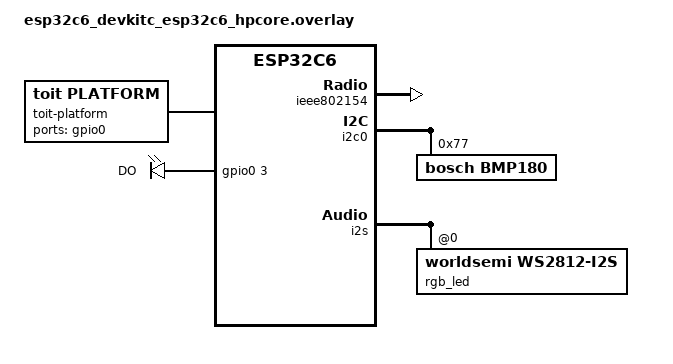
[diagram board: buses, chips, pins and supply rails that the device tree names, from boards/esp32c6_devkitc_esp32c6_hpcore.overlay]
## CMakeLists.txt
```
cmake_minimum_required(VERSION 3.20.0)
list(APPEND ZEPHYR_EXTRA_MODULES ${CMAKE_CURRENT_SOURCE_DIR}/../modules/toit)
# The VM core's crypto on Zephyr 4.5's Mbed TLS 4 / TF-PSA-Crypto.
list(APPEND EXTRA_CONF_FILE ${CMAKE_CURRENT_SOURCE_DIR}/crypto_mbedtls4.conf)
# Unset, find_package takes whichever Zephyr the CMake package registry holds
# (the NCS one on msi), silently (#42).
if(NOT DEFINED ENV{ZEPHYR_BASE})
  message(FATAL_ERROR "ZEPHYR_BASE is not set: source ztoit's env.sh (#42)")
endif()
find_package(Zephyr REQUIRED HINTS $ENV{ZEPHYR_BASE})
project(ztoit LANGUAGES C CXX)
target_sources(app PRIVATE src/main.cc)
# The QEMU test build's wire between two emulated GPIO pins (tests/qemu, #62).
if(CONFIG_GPIO_EMUL)
  target_sources(app PRIVATE ../tests/qemu/gpio-join.c)
endif()
if(CONFIG_SOC_SERIES_ESP32)
  target_sources(app PRIVATE src/esp32_fflush.c)
  zephyr_ld_options(-Wl,--wrap=fflush)
  if(CONFIG_WIFI_ESP32)
    target_sources(app PRIVATE src/esp32_wifi_timers.c)
    zephyr_ld_options(-Wl,--wrap=ets_timer_setfn -Wl,--wrap=ets_timer_done)
  endif()
endif()
if(CONFIG_TOIT_AGENT)
  target_sources(app PRIVATE src/agent/agent.c src/agent/console.c src/agent/msg.c src/agent/obs.c
                             src/agent/stage.c src/agent/store.c src/agent/ed25519.c)
  # Vendored TweetNaCl (ed25519.c's header): kept byte for byte, warnings and all.
  set_source_files_properties(src/agent/ed25519.c PROPERTIES COMPILE_OPTIONS -w)
  target_link_libraries(app PRIVATE mbedTLS)
  # obs/build's strings, taken at every build, not at configure (ztoit#24).
  set(ids ${CMAKE_CURRENT_BINARY_DIR}/ztoit_ids.h)
  add_custom_target(ztoit_ids
    COMMAND ${CMAKE_COMMAND} -DOUT=${ids} -DSRC=${CMAKE_CURRENT_SOURCE_DIR}/..
            -DTOIT_SRC=$ENV{TOIT_SRC} -DTOIT_HOST=$ENV{TOIT_HOST} -P ${CMAKE_CURRENT_SOURCE_DIR}/ztoit_ids.cmake
    BYPRODUCTS ${ids} VERBATIM)
  add_dependencies(app ztoit_ids)
  target_include_directories(app PRIVATE ${CMAKE_CURRENT_BINARY_DIR})
endif()
option(OT_COUNTERS "Debug: print OpenThread MAC counters every minute (ztoit#18)" OFF)
if(OT_COUNTERS)
  target_sources(app PRIVATE src/ot_counters.c)
endif()
option(FATAL_DUMP "Debug, nRF: report a fatal error or watchdog reset at the next boot (ztoit#23)" OFF)
if(FATAL_DUMP)
  target_sources(app PRIVATE src/fatal_dump.c)
  if(FATAL_DUMP_PEEK)  # "core-address;trx-address", see fatal_dump.c
    list(GET FATAL_DUMP_PEEK 0 peek_core)
    list(GET FATAL_DUMP_PEEK 1 peek_trx)
    target_compile_definitions(app PRIVATE FATAL_DUMP_PEEK PEEK_CORE=${peek_core} PEEK_TRX=${peek_trx})
  endif()
endif()
option(HFCLK_HOLD "Debug, nRF: hold the HF crystal on from boot, as USB does (ztoit#23)" OFF)
if(HFCLK_HOLD)
  target_sources(app PRIVATE src/hfclk_hold.c)
endif()
target_include_directories(app PRIVATE $ENV{TOIT_SRC}/src $ENV{TOIT_SRC}/include)
target_compile_definitions(app PRIVATE TOIT_DEPLOY _DEFAULT_SOURCE)

# The registry's images: the fork's Zephyr system program, then each of
# $CONTAINERS (run at boot). Each is built snapshot -> relocatable 32-bit image ->
# a const byte array in flash (images.inc, main.cc): it is read once, to install
# it into the flash registry, so it must not take RAM.
set(CONTAINERS ${CMAKE_CURRENT_SOURCE_DIR}/toit/hello.toit CACHE STRING "Toit containers (;-list) run at boot")
set(GEN ${CMAKE_CURRENT_BINARY_DIR}/toit)
file(MAKE_DIRECTORY ${GEN})

# The compiler's dependency file makes an edit to any imported file rebuild the image.
function(toit_image stem source)
  add_custom_command(
    OUTPUT ${GEN}/${stem}.snapshot
    COMMAND $ENV{TOIT_HOST} compile --snapshot -O2 -o ${GEN}/${stem}.snapshot
            --dependency-file ${GEN}/${stem}.d --dependency-format ninja ${source}
    DEPENDS ${source}
    DEPFILE ${GEN}/${stem}.d
    VERBATIM)
  add_custom_command(
    OUTPUT ${GEN}/${stem}.image
    COMMAND $ENV{TOIT_HOST} tool snapshot-to-image --format=binary -m32
            -o ${GEN}/${stem}.image ${GEN}/${stem}.snapshot
    DEPENDS ${GEN}/${stem}.snapshot
    VERBATIM)
  generate_inc_file_for_target(app ${GEN}/${stem}.image ${GEN}/${stem}_image.inc)
endfunction()

set(SYSTEM_DIR $ENV{TOIT_SRC}/system/extensions/zephyr)
toit_image(system ${SYSTEM_DIR}/boot.toit)
set(arrays "static const unsigned char image_system[] __aligned(4) = {\n#include \"system_image.inc\"\n};\n")
set(entries "  { image_system, sizeof(image_system), 0 },\n")
set(stems system)
foreach(source ${CONTAINERS})
  get_filename_component(stem ${source} NAME_WE)
  if(stem IN_LIST stems)
    message(FATAL_ERROR "CONTAINERS: two images named ${stem}")
  endif()
  list(APPEND stems ${stem})
  toit_image(${stem} ${source})
  string(APPEND arrays "static const unsigned char image_${stem}[] __aligned(4) = {\n#include \"${stem}_image.inc\"\n};\n")
  string(APPEND entries "  { image_${stem}, sizeof(image_${stem}), FLAG_RUN_BOOT },\n")
endforeach()
# $TESTS (tests/qemu, tools/test-qemu.py): relocatable images the script has
# built, installed but not run at boot, each tagged with its 1-based place in
# the list; a runner container in $CONTAINERS starts them one at a time.
set(TESTS "" CACHE STRING "Toit test images (;-list) for the QEMU test runner")
set(tag 0)
foreach(image ${TESTS})
  math(EXPR tag "${tag} + 1")
  generate_inc_file_for_target(app ${image} ${GEN}/test_${tag}_image.inc)
  string(APPEND arrays "static const unsigned char image_test_${tag}[] __aligned(4) = {\n#include \"test_${tag}_image.inc\"\n};\n")
  string(APPEND entries "  { image_test_${tag}, sizeof(image_test_${tag}), 0, ${tag} },\n")
endforeach()
file(WRITE ${GEN}/images.inc.tmp "// Generated by zephyr/CMakeLists.txt.\n${arrays}static const Image images[] = {\n${entries}};\n")
configure_file(${GEN}/images.inc.tmp ${GEN}/images.inc COPYONLY)
target_include_directories(app PRIVATE ${GEN})
```

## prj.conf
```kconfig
CONFIG_CPP=y
CONFIG_STD_CPP17=y
CONFIG_REQUIRES_FULL_LIBCPP=y
CONFIG_PICOLIBC=y
CONFIG_CONSOLE=y
CONFIG_UART_CONSOLE=y
CONFIG_MAIN_STACK_SIZE=16384
CONFIG_TOIT=y
CONFIG_THREAD_NAME=y
CONFIG_ENTROPY_GENERATOR=y
CONFIG_PICOLIBC_IO_FLOAT=y
CONFIG_FLASH=y
CONFIG_FLASH_MAP=y
```

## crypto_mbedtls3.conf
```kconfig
# The VM core's crypto (bignum, SHA, AES, entropy) on Mbed TLS 3 (Zephyr 4.2).
# Chosen by CMakeLists.txt from $ZEPHYR_BASE/VERSION.
CONFIG_MBEDTLS=y
CONFIG_MBEDTLS_BUILTIN=y
CONFIG_MBEDTLS_ENTROPY_C=y
CONFIG_MBEDTLS_RSA_C=y
CONFIG_MBEDTLS_PKCS1_V15=y
```

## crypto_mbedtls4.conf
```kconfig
# The VM core's crypto on Mbed TLS 4 / TF-PSA-Crypto (Zephyr 4.5): the legacy
# APIs the VM calls are private there (mbedtls/private/*.h, reached through
# modules/toit/mbedtls4/). PSA_WANT_* selects which legacy modules compile.
# modules/toit/Kconfig's TOIT selects the PSA_WANT_* the VM links. The
# `crypto` primitives (AES, GCM, ChaCha, ECDSA) are compiled out on Zephyr (no
# CONFIG_TOIT_CRYPTO).
CONFIG_MBEDTLS_BUILTIN=y
CONFIG_MBEDTLS_DECLARE_PRIVATE_IDENTIFIERS=y
CONFIG_MBEDTLS_PSA_CRYPTO_LEGACY_RNG=y
# ECDSA/P-256 is the only route to bignum: TF-PSA's rsa.c fails -Werror with just
# the RSA public key.
# Bluetooth (prj_ble.conf) turns on the p256-m driver for its P-256, which replaces
# the built-in ECC above and with it bignum: the VM then fails to link (ztoit #41).
CONFIG_MBEDTLS_PSA_P256M_DRIVER_ENABLED=n
```

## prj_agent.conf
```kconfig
# The C agent (porta check-ins and installs, nodus-toit design §5), on either link:
#   west build -- -DEXTRA_CONF_FILE="prj_wifi.conf;prj_agent.conf;prj_wifi.local.conf"
#   west build -- -DEXTRA_CONF_FILE="prj_thread.conf;prj_agent.conf;prj_thread.local.conf"
# The link's local conf sets CONFIG_TOIT_AGENT_PORTA (an address of the link's
# family) and CONFIG_TOIT_AGENT_PUBKEY (porta's pub key file; empty: nothing installs).
# Settings come from the link's conf (WiFi credentials, the OpenThread dataset).
CONFIG_TOIT_AGENT=y
CONFIG_COAP=y
CONFIG_COAP_CLIENT=y
# The blob path is "blob/" + 64 hex digits = 69 characters; from Zephyr 4.5 the
# request holds the path in an array of this length + 1 (agent.c asserts it fits).
CONFIG_COAP_CLIENT_MAX_PATH_LENGTH=69
# One datagram each way: porta caps a #batch at 512 B (space.MaxBatchBytes) and runs
# blockwise off, and the agent's pushes stay within the same 512 B (msg.h MSG_PUSH_MAX).
CONFIG_COAP_CLIENT_MESSAGE_SIZE=576
# The remote console's ring on log_partition (agent/store.c); boards without one build it unused.
CONFIG_FCB=y
```

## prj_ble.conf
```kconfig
# UDP over Bluetooth LE to a phone relay (the Toit fork's udp_ble.cc; ztoit #41).
# Add with -DEXTRA_CONF_FILE=prj_ble.conf on a board with a BLE radio and no IP
# stack. The block is rete's nodus/oevm/zephyr/prj_dk_ble.conf, whose comments
# give each line's reason; the wire is rete's protocol/RELAY-BLE.md.
CONFIG_BT=y
CONFIG_BT_PERIPHERAL=y
CONFIG_BT_DEVICE_NAME="ztoit"
CONFIG_BT_SMP=y
CONFIG_BT_SETTINGS=y
CONFIG_BT_MAX_PAIRED=1
CONFIG_BT_SMP_APP_PAIRING_ACCEPT=y
CONFIG_BT_SMP_ENFORCE_MITM=n
CONFIG_BT_L2CAP_DYNAMIC_CHANNEL=y
CONFIG_BT_MAX_CONN=1
CONFIG_BT_BUF_ACL_RX_SIZE=251
CONFIG_BT_BUF_ACL_TX_SIZE=251
CONFIG_BT_L2CAP_TX_MTU=247
CONFIG_BT_CTLR_DATA_LENGTH_MAX=251
# The bond lives in settings on the storage partition. Without a backend Zephyr
# picks SETTINGS_NONE and the bond is RAM-only: lost at reset while the phone keeps
# it, so pairing times out (#41). ZMS selects SETTINGS_ZMS, the backend for the
# nRF54L's RRAM (rete's DK uses NVS on nRF52840 flash).
CONFIG_FLASH=y
CONFIG_FLASH_MAP=y
CONFIG_ZMS=y
CONFIG_SETTINGS=y
# As rete's prj_dk_ble.conf: the Bluetooth host's work items run here.
CONFIG_SYSTEM_WORKQUEUE_STACK_SIZE=2048
# Pairing's key exchange runs on the long workqueue. crypto_mbedtls4.conf turns
# p256-m off, so it runs on Mbed TLS's built-in ECP, which overflows the default
# stack (1400 B) at the first link (#41).
CONFIG_BT_LONG_WQ_STACK_SIZE=4096
# Ask the central for 7.5-15 ms, not Zephyr's 30-50 ms. The receive side grants one
# L2CAP credit at a time, so each 400 B datagram from the relay costs ~4-5 connection
# events: at 50 ms that is ~4 a second, too few for rung 6's 10 a second (#41).
# Costs radio power; we run on USB. Faster only while busy is #46.
CONFIG_BT_PERIPHERAL_PREF_MIN_INT=6
CONFIG_BT_PERIPHERAL_PREF_MAX_INT=12
```

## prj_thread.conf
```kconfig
# Thread (OpenThread MTD) layer, any board: west build -- -DEXTRA_CONF_FILE="prj_thread.conf;prj_thread.local.conf"
#   (the radio driver follows the board devicetree: zephyr/boards/*.overlay)
# Values follow rete's proven C6 layer (rete nodus/oevm/zephyr/prj_esp32c6_thread.conf).
# The real porta dataset (network key) lives in the gitignored prj_thread.local.conf;
# without it the node builds but does not join. Read the live dataset with
#   ssh gw85224-01 docker exec otbr ot-ctl dataset active
CONFIG_NETWORKING=y
CONFIG_NET_IPV6=y
CONFIG_NET_IPV4=n
CONFIG_NET_TCP=y
CONFIG_NET_UDP=y
CONFIG_NET_SOCKETS=y
CONFIG_NET_CONFIG_SETTINGS=n
CONFIG_IEEE802154=y
CONFIG_NET_L2_OPENTHREAD=y
CONFIG_OPENTHREAD_MTD=y
CONFIG_OPENTHREAD_FTD=n
CONFIG_OPENTHREAD_MANUAL_START=y
# SLAAC gives the node an address on the OTBR's off-mesh-routable (OMR) prefix,
# which source selection needs for any destination beyond the mesh.
CONFIG_OPENTHREAD_SLAAC=y
CONFIG_OPENTHREAD_THREAD_STACK_SIZE=6240
# OpenThread's radio transmit workqueue overflows its 512 B default on Zephyr 4.5:
# the dongle ~5 s after boot (#47), the XIAO nRF54L15 during an agent fetch (#51).
CONFIG_OPENTHREAD_RADIO_WORKQUEUE_STACK_SIZE=1024
CONFIG_NET_MAX_CONTEXTS=6
CONFIG_NET_PKT_RX_COUNT=8
CONFIG_NET_PKT_TX_COUNT=8
CONFIG_NET_BUF_RX_COUNT=16
# The TX pool also sizes TCP's send window (count x 128 B / 3, zephyr tcp.c
# tcp_tx_window). At 16 a 1000 B write is accepted and never sent (the gateway
# saw 117 B); at 64 (window 2730) tcp_echo.toit passes 5/5 (ztoit#4).
CONFIG_NET_BUF_TX_COUNT=64
# OpenThread keeps its dataset in settings, on the board's `storage` partition.
CONFIG_NVS=y
CONFIG_SETTINGS=y
CONFIG_SETTINGS_NVS=y
CONFIG_ZVFS_EVENTFD=y
# The VM's socket event source polls up to MAX_FDS sockets plus its wake eventfd
# (toit src/event_sources/zsock_zephyr.h; static_assert there). At the defaults
# (poll 3, open 4) two network containers aborted with zsock_poll ENOMEM.
CONFIG_ZVFS_POLL_MAX=9
CONFIG_ZVFS_OPEN_MAX=9
# OpenThread's HMAC (key derivation) allocates from the mbedTLS heap it shares with the VM; at the
# default 512 B it fails once the VM's EntropyMixer holds a hash context (#19).
CONFIG_MBEDTLS_HEAP_SIZE=2048
```

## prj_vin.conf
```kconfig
# The Vindriktning on a WROOM-32 (#52): ztoit.Uart receives the sensor line.
#   west build -- -DEXTRA_CONF_FILE="prj_wifi.conf;prj_agent.conf;prj_vin.conf;prj_wifi.local.conf"
#     -DEXTRA_DTC_OVERLAY_FILE=vindriktning.overlay
CONFIG_UART_INTERRUPT_DRIVEN=y
CONFIG_RING_BUFFER=y
# ztoit.Uart finds the UART by devicetree node label.
CONFIG_DEVICE_DT_METADATA=y
```

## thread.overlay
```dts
/* Thread builds only: the C6's 802.15.4 radio (disabled in esp32c6_common.dtsi). */
&ieee802154 {
	status = "okay";
};
```

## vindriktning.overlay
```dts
/* The Vindriktning (#52): the PM1006-like sensor's TX, through a 5 V -> 3.3 V
 * divider, on GPIO21 (the wiring of ~/workspaceToit/vindriktning). GPIO21 is
 * the board's I2C SDA, so i2c0 is off. Receive only: uart2 gets no TX pin. */
&i2c0 {
	status = "disabled";
};

&pinctrl {
	uart2_vin: uart2_vin {
		group1 {
			pinmux = <UART2_RX_GPIO21>;
			input-enable;
		};
	};
};

&uart2 {
	status = "okay";
	current-speed = <9600>;
	pinctrl-0 = <&uart2_vin>;
	pinctrl-names = "default";
};
```

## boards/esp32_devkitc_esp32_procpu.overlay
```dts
/* WROOM-32 (4 MB flash; the vindriktning's ezSBC ESP32 Feather), #521 spike.
 * Toit's flash registry (flash_registry_zephyr.cc) takes the space the default
 * table gives MCUboot's second slot and the APP CPU images, which ztoit does not
 * use: 0x170000-0x3a0000, 2240 KB. */
/delete-node/ &slot1_partition;
/delete-node/ &slot0_appcpu_partition;
/delete-node/ &slot1_appcpu_partition;
/delete-node/ &slot0_lpcore_partition;
/delete-node/ &slot1_lpcore_partition;

&flash0 {
	partitions {
		toit_partition: partition@170000 {
			label = "toit";
			reg = <0x170000 0x230000>;
		};

		/* The agent's staging area (zephyr/src/agent/store.c): where Zephyr's
		 * ESP32 tables had scratch_partition until 4.5 dropped it (#47). */
		stage_partition: partition@3e0000 {
			compatible = "zephyr,mapped-partition";
			label = "stage";
			reg = <0x3e0000 DT_SIZE_K(124)>;
		};
		/* The remote console's ring (zephyr/src/agent/store.c, FCB): where the
		 * default table has the two lpcore slots, which ztoit does not use. */
		log_partition: partition@3a0000 {
			compatible = "zephyr,mapped-partition";
			label = "log";
			reg = <0x3a0000 DT_SIZE_K(64)>;
		};
	};
};
```

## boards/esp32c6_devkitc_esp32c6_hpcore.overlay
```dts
/* The WROOM-1-N8 has 8 MB of flash; the board's default table uses the lower
 * 4 MB. The upper 4 MB is Toit's flash registry (flash_registry_zephyr.cc). */
/delete-node/ &slot0_lpcore_partition;
/delete-node/ &slot1_lpcore_partition;

&flash0 {
	partitions {
		toit_partition: partition@400000 {
			label = "toit";
			reg = <0x400000 DT_SIZE_M(4)>;
		};

		/* The agent's staging area (zephyr/src/agent/store.c): where Zephyr's
		 * ESP32 tables had scratch_partition until 4.5 dropped it (#47). */
		stage_partition: partition@3e0000 {
			compatible = "zephyr,mapped-partition";
			label = "stage";
			reg = <0x3e0000 DT_SIZE_K(124)>;
		};
		/* The remote console's ring (zephyr/src/agent/store.c, FCB): where the
		 * default table has the two lpcore slots, which ztoit does not use. */
		log_partition: partition@3a0000 {
			compatible = "zephyr,mapped-partition";
			label = "log";
			reg = <0x3a0000 DT_SIZE_K(64)>;
		};
	};
};

/* The C6's 802.15.4 radio (disabled in esp32c6_common.dtsi). Its driver builds
 * only with CONFIG_IEEE802154 (prj_thread.conf). */
&ieee802154 {
	status = "okay";
};

/* #7 I/O, wired 2026-11-14: the DI is the board's BOOT button (GPIO9,
 * `user_button1` in the board dts; a strapping pin, so held at reset it enters
 * download mode). An output on GPIO3, and an Adafruit BMP180 breakout on the
 * board's i2c0 (SDA GPIO6, SCL GPIO7; breakout pull-ups, VIN from 3V3). Toit
 * names these by devicetree label.
 * The on-board RGB LED (WS2812 on GPIO8, the upstream led_strip sample's
 * ws2812-i2s) needs no wiring either, so BOOT + RGB test ztoit on a bare board.
 * Only the data line is routed: the WS2812 needs no I2S clock pins. */
#include <zephyr/dt-bindings/led/led.h>

/ {
	/* Toit's standard gpio library (#62): pin n is GPIO n. Zephyr's gpio0 has
	 * GPIO0..29 (esp32c6_common.dtsi, ngpios = 30), so GPIO30 is no pin.
	 * Reserved, needing --allow-restricted:
	 *   3       the DO (gpio-leds `do0`, below)
	 *   4, 5    strapping pins MTMS, MTDI (datasheet, "Strapping Pins")
	 *   6, 7    i2c0 SDA, SCL (board pinctrl i2c0_default), the BMP180's bus
	 *   8       strapping pin; the WS2812's data line (i2s_led_default, below)
	 *   9       strapping pin (boot mode); BOOT button (gpio-keys `user_button1`)
	 *   12, 13  USB Serial/JTAG D-, D+ (USB_INT_PHY0_DM/DP_GPIO_NUM)
	 *   15      strapping pin (JTAG source)
	 *   16, 17  UART0 TX, RX: the console (board pinctrl uart0_default)
	 *   24..29  the module's SPI flash (IO_MUX SPICS0, SPIQ, SPIWP, VDD_SPI,
	 *           SPIHD, SPICLK; SPID on GPIO30)
	 * Free: 0, 1, 2, 10, 11, 14, 18..23 (spi2 is disabled below, and this
	 * overlay's i2s pinctrl routes only GPIO8). */
	toit-platform {
		compatible = "toit,platform";
		gpio-ports = <&gpio0>;
		reserved-pins = <3 4 5 6 7 8 9 12 13 15 16 17 24 25 26 27 28 29>;
	};

	/* The controllers Toit's standard libraries may open (#62), by the pins
	 * the board's pinctrl routes: i2c.Bus --sda=6 --scl=7 is i2c0 (board
	 * pinctrl i2c0_default), shared with the BMP180 below. A bus's pins stay
	 * in reserved-pins: they are not for gpio.Pin. */
	ztoit-buses {
		compatible = "ztoit,buses";
		i2c0 {
			controller = <&i2c0>;
			sda = <6>;
			scl = <7>;
		};
	};

	leds {
		compatible = "gpio-leds";
		do0: do_0 {
			label = "DO";
			gpios = <&gpio0 3 GPIO_ACTIVE_HIGH>;
		};
	};
};

&i2c0 {
	bmp180: bmp180@77 {
		compatible = "bosch,bmp180";
		reg = <0x77>;
		osr-press = <1>;
	};
};

/* The board dts enables spi2 with SCLK on GPIO6 and MOSI on GPIO7, i2c0's pins.
 * ztoit uses no SPI; off so it cannot take the BMP180's bus. */
&spi2 {
	status = "disabled";
};

&pinctrl {
	i2s_led_default: i2s_led_default {
		group1 {
			pinmux = <I2S_O_SD_GPIO8>;
		};
	};
};

&i2s {
	status = "okay";
	pinctrl-0 = <&i2s_led_default>;
	pinctrl-names = "default";
	dmas = <&dma 3>;
	dma-names = "tx";

	rgb_led: ws2812@0 {
		compatible = "worldsemi,ws2812-i2s";
		reg = <0>;
		chain-length = <1>;
		color-mapping = <LED_COLOR_ID_GREEN
				 LED_COLOR_ID_RED
				 LED_COLOR_ID_BLUE>;
		reset-delay = <500>;
	};
};

&dma {
	status = "okay";
};
```

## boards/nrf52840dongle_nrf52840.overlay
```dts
/* nRF52840 dongle, no MCUboot: the nRF5 bootloader loads the app at 0x1000
 * (FLASH_LOAD_OFFSET). App 0x1000-0xa0000 (CONFIG_FLASH_LOAD_SIZE in the board
 * .conf turns overflow into a link error); Toit's flash registry takes the
 * former MCUboot slots up to the board's storage partition (OpenThread settings). */
/delete-node/ &boot_partition;
/delete-node/ &slot1_partition;

/* The board's chosen code partition; resized to the app region. Not used for
 * linking (FLASH_LOAD_OFFSET/SIZE are) but kept so /chosen resolves. */
&slot0_partition {
	reg = <0x00001000 0x0009f000>;
};

&flash0 {
	partitions {
		toit_partition: partition@a0000 {
			label = "toit";
			reg = <0x000a0000 0x0003c000>;
		};
	};
};
```

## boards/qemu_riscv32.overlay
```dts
/* QEMU test build (ztoit#61, #62): two emulated GPIO controllers for Toit's
 * standard gpio library, so pin numbers 0..7 are port 0 and 32..39 port 1
 * (32 x port + pin, the toit,platform rule). tests/qemu/gpio-join.c wires
 * pin 0 to pin 33; tests/qemu/gpio-test.toit uses them.
 * An emulated I2C controller with an AT24 EEPROM emulator at 0x50, which
 * Toit's i2c library opens on pins 4 (sda) and 5 (scl): an emulated bus has
 * no pins, so these numbers stand for a board's pinctrl routing.
 * tests/qemu/i2c-test.toit uses it. */
/ {
	gpio_emul0: gpio-emul-0 {
		compatible = "zephyr,gpio-emul";
		status = "okay";
		gpio-controller;
		#gpio-cells = <2>;
		ngpios = <8>;
		rising-edge;
		falling-edge;
	};

	gpio_emul1: gpio-emul-1 {
		compatible = "zephyr,gpio-emul";
		status = "okay";
		gpio-controller;
		#gpio-cells = <2>;
		ngpios = <8>;
		rising-edge;
		falling-edge;
	};

	toit-platform {
		compatible = "toit,platform";
		gpio-ports = <&gpio_emul0 &gpio_emul1>;
		/* 7 stands for a board's flash or console pin: needs
		 * --allow-restricted. 4 and 5 are the I2C bus's, as on a board. */
		reserved-pins = <4 5 7>;
	};

	i2c_emul0: i2c@100 {
		compatible = "zephyr,i2c-emul-controller";
		status = "okay";
		clock-frequency = <100000>;
		#address-cells = <1>;
		#size-cells = <0>;
		reg = <0x100 4>;

		eeprom@50 {
			compatible = "atmel,at24";
			reg = <0x50>;
			size = <256>;
			pagesize = <8>;
			address-width = <8>;
			timeout = <5>;
		};
	};

	ztoit-buses {
		compatible = "ztoit,buses";
		i2c0 {
			controller = <&i2c_emul0>;
			sda = <4>;
			scl = <5>;
		};
	};

	zephyr,user {
		wire-gpios = <&gpio_emul0 0 0>, <&gpio_emul1 1 0>;
	};
};
```

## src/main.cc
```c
// ztoit: run Toit's container system under Zephyr. The registry holds the
// fork's Zephyr system program at offset 0 and the firmware's containers after
// it (images.inc), then what was installed at run time: the agent's images,
// installed here from staging before the VM starts, and the system program's
// own allocations. Each image is relocated to its mapped address (as toit's
// image writer primitives do) and run from flash in place.
//
// Boot rule (nodus-toit design, addendum 2026-11-17): if the firmware images
// sit exactly at the front of the registry, everything after them is kept;
// otherwise the whole registry and the agent's install records are erased and
// the firmware images reinstalled. Installed apps then come back from porta's
// goals, which are the record of what should be on the node.
#include <algorithm>
#include <cstdio>
#include <cstring>
#include <zephyr/kernel.h>
#include <zephyr/drivers/uart.h>

#include "top.h"
#include "flash_allocation.h"
#include "flash_registry.h"
#include "os.h"
#include "program.h"
#include "scheduler.h"
#include "snapshot.h"
#include "vm.h"
#include "third_party/dartino/object_memory.h"

#ifdef CONFIG_TOIT_AGENT
#include "agent/store.h"
extern "C" void agent_start(void);
#endif

// A relocatable image in flash (zephyr/CMakeLists.txt). flags is the
// allocation's metadata[0], tag its metadata[1..4] (the container image's
// `data`; a test's number in tests/qemu runs, else 0).
struct Image {
  const unsigned char* data;
  unsigned size;
  uint8_t flags;
  uint32_t tag;
};
static const uint8_t FLAG_RUN_BOOT = 1;  // ContainerService.FLAG-RUN-BOOT: the containers
#include "images.inc"
static const int IMAGE_COUNT = sizeof(images) / sizeof(images[0]);

namespace toit {

// The image is chunks of one relocation-bit word plus WORD_BIT_SIZE words.
static const int CHUNK_WORD_SIZE = ImageOutputStream::CHUNK_SIZE;
static const int CHUNK_BYTES = CHUNK_WORD_SIZE * WORD_SIZE;

// An image's bytes: a firmware image's array, or the staging partition, which
// is not memory-mapped and is read a chunk at a time.
struct ImageSource {
  word size;
  bool (*read)(const void* ctx, word offset, void* buffer, word length);
  const void* ctx;
};

static bool read_array(const void* ctx, word offset, void* buffer, word length) {
  memcpy(buffer, static_cast<const uint8*>(ctx) + offset, length);
  return true;
}

static ImageSource firmware_source(const Image& image) {
  return { static_cast<word>(image.size), read_array, image.data };
}

static bool is_chunked(word size) {
  return size > 0 && size % CHUNK_BYTES == 0;
}

static word allocation_size(word image_size) {
  return Utils::round_up((image_size / CHUNK_WORD_SIZE) * WORD_BIT_SIZE, FLASH_PAGE_SIZE);
}

// The first chunk starts with the program header.
struct HeaderBytes {
  alignas(word) uint8 bytes[sizeof(FlashAllocation::Header)];
  const FlashAllocation::Header* get() const { return reinterpret_cast<const FlashAllocation::Header*>(bytes); }
};

static bool read_header(const ImageSource& source, HeaderBytes* out) {
  return source.read(source.ctx, WORD_SIZE, out->bytes, sizeof(out->bytes));
}

static bool installed_at(const Image& image, word offset) {
  const FlashAllocation* installed = FlashRegistry::allocation(offset);
  HeaderBytes header;
  return installed != null && installed->is_program() && read_header(firmware_source(image), &header) &&
         memcmp(installed->id(), header.get()->id(), FlashAllocation::Header::ID_SIZE) == 0;
}

// Writes the image at offset, header last (commit): only a complete write is
// valid. Answers the program, or null if the source or the flash failed.
static const Program* install_image(const ImageSource& source, word offset, uint8 flags, uint32 tag = 0) {
  word relocated = (source.size / CHUNK_WORD_SIZE) * WORD_BIT_SIZE;
  word allocation = allocation_size(source.size);
  int64 start = k_uptime_get();
  ProgramImage image(FlashRegistry::region(offset, allocation), allocation);
  ImageOutputStream output(image);
  word chunk[CHUNK_WORD_SIZE];
  word buffer[WORD_BIT_SIZE];
  for (word i = 0; i < source.size; i += CHUNK_BYTES) {
    if (!source.read(source.ctx, i, chunk, CHUNK_BYTES)) return null;
    bool first = output.empty();
    word chunk_offset = FlashRegistry::offset(output.cursor());
    output.write(chunk, CHUNK_WORD_SIZE, buffer);
    word skip = first ? sizeof(FlashAllocation::Header) : 0;
    if (!FlashRegistry::write_chunk(reinterpret_cast<uint8*>(buffer) + skip, chunk_offset + skip,
                                    WORD_BIT_SIZE * WORD_SIZE - skip)) {
      printf("ztoit: flash write failed at %d\n", static_cast<int>(chunk_offset));
      return null;
    }
  }
  HeaderBytes source_header;
  if (!read_header(source, &source_header)) return null;
  uint8 metadata[FlashAllocation::Header::METADATA_SIZE] = { 0 };
  metadata[0] = flags;
  for (int i = 0; i < 4; i++) metadata[1 + i] = static_cast<uint8>(tag >> (8 * i));  // little endian, as image_writer.toit
  const FlashAllocation::Header header(image.begin(), FLASH_ALLOCATION_TYPE_PROGRAM,
                                       source_header.get()->id(), source_header.get()->size(), metadata);
  if (!FlashAllocation::commit(image.begin(), source_header.get()->size(), &header)) {
    printf("ztoit: commit failed at %d\n", static_cast<int>(offset));
    return null;
  }
  printf("ztoit: program %d B at %d, installed in the registry in %d ms\n",
         static_cast<int>(relocated), static_cast<int>(offset), static_cast<int>(k_uptime_get() - start));
  return static_cast<const Program*>(FlashRegistry::allocation(offset));
}

// The boot rule (top of file). Answers the system program, image 0, and in
// *end the offset after the firmware images.
static const Program* install_images(word* end) {
  word total = 0;
  for (int i = 0; i < IMAGE_COUNT; i++) {
    if (!is_chunked(images[i].size)) FATAL("bad image size %u", images[i].size);
    total += allocation_size(images[i].size);
  }
  if (total > FlashRegistry::allocations_size()) {
    FATAL("images %d B > registry %d B", static_cast<int>(total), static_cast<int>(FlashRegistry::allocations_size()));
  }
  bool current = true;
  for (word i = 0, offset = 0; current && i < IMAGE_COUNT; offset += allocation_size(images[i].size), i++) {
    current = installed_at(images[i], offset);
  }
  if (current) {
    printf("ztoit: %d images, already in the registry\n", IMAGE_COUNT);
  } else {
    if (FlashRegistry::erase_chunk(0, FlashRegistry::allocations_size()) == 0) FATAL("erase failed");
#ifdef CONFIG_TOIT_AGENT
    store_apps_clear();
    printf("ztoit: registry erased: installed apps come back from porta's goals\n");
#endif
    for (word i = 0, offset = 0; i < IMAGE_COUNT; offset += allocation_size(images[i].size), i++) {
      if (install_image(firmware_source(images[i]), offset, images[i].flags, images[i].tag) == null) FATAL("install failed");
    }
  }
  *end = total;
  return static_cast<const Program*>(FlashRegistry::allocation(0));
}

#ifdef CONFIG_TOIT_AGENT

static bool read_staging(const void* ctx, word offset, void* buffer, word length) {
  const struct stage_io* io = static_cast<const struct stage_io*>(ctx);
  return io->read(io->ctx, offset, buffer, length) == 0;
}

// Drops the allocation an app record names, if it is still that program, as
// the Toit registry frees one: its header page erased.
static void erase_app(const struct store_app& app) {
  const FlashAllocation* allocation = FlashRegistry::allocation(app.offset);
  if (allocation != null && allocation->is_program() &&
      memcmp(allocation->id(), app.id, FlashAllocation::Header::ID_SIZE) == 0) {
    FlashRegistry::erase_chunk(app.offset, FLASH_PAGE_SIZE);
  }
}

// The first run of free pages at or after from that holds size bytes, or -1.
static word find_free(word from, word size) {
  word limit = FlashRegistry::allocations_size();
  word offset = from;
  while (offset + size <= limit) {
    const FlashAllocation* allocation = FlashRegistry::allocation(offset);
    if (allocation != null) {
      offset += Utils::round_up(allocation->size(), FLASH_PAGE_SIZE);
      continue;
    }
    word end = offset + FLASH_PAGE_SIZE;
    while (end - offset < size && FlashRegistry::allocation(end) == null) end += FLASH_PAGE_SIZE;
    if (end - offset >= size) return offset;
    offset = end;
  }
  return -1;
}

// Refused here, the agent does not fetch the same hash again.
static void refuse_staged(struct store_stage* stage, const char* why) {
  printf("ztoit: staged %s not installed: %s\n", stage->name, why);
  stage->state = STAGE_REFUSED;
  store_stage_save(stage);
  store_app_unreport(stage->name);  // the agent pushes obs/apps/<name> #refused
}

// A verified staged image goes into the first free run after the firmware
// images, replacing the allocation of the same name. Its record says
// installed only after the commit, so a power cut repeats this from staging.
static void install_staged(word from) {
  const struct stage_io* io = store_staging();
  struct store_stage stage;
  if (io == null || !store_stage_load(&stage) || stage.state != STAGE_VERIFIED) return;
  if (!is_chunked(stage.size)) return refuse_staged(&stage, "not a relocatable image");
  struct store_app app;
  if (store_app_load(stage.name, &app) && app.state != APP_ERASED) erase_app(app);
  word size = allocation_size(stage.size);
  word offset = find_free(from, size);
  if (offset < 0) return refuse_staged(&stage, "no room in the registry");
  if (FlashRegistry::erase_chunk(offset, size) == 0) return refuse_staged(&stage, "erase failed");
  const Program* program = install_image(ImageSource{ static_cast<word>(stage.size), read_staging, io }, offset,
                                         FLAG_RUN_BOOT);
  if (program == null) return refuse_staged(&stage, "install failed");
  memset(&app, 0, sizeof(app));
  memcpy(app.hash, stage.hash, sizeof(app.hash));
  app.size = stage.size;
  app.offset = offset;
  memcpy(app.id, program->id(), sizeof(app.id));
  app.keep = stage.keep;
  app.state = APP_INSTALLED;
  store_app_save(stage.name, &app);
  store_stage_clear();
  printf("ztoit: installed %s from staging\n", stage.name);
}

// keep = false: an image runs at the boot after its install, and is erased at
// the one after that.
static void run_once(const char* name, struct store_app* app, void* ctx) {
  if (app->state == APP_RAN) {
    erase_app(*app);
    app->state = APP_ERASED;
    app->reported = 0;  // the agent pushes obs/apps/<name> #erased
    store_app_save(name, app);
    printf("ztoit: %s ran once (keep false): erased\n", name);
  } else if (app->state == APP_INSTALLED && !app->keep) {
    app->state = APP_RAN;
    store_app_save(name, app);
  }
}

#endif  // CONFIG_TOIT_AGENT

static int run() {
  FlashRegistry::set_up();
  OS::set_up();
  ObjectMemory::set_up();
#ifdef CONFIG_TOIT_AGENT
  bool records = store_init();
#endif
  word firmware_end;
  Program* program = const_cast<Program*>(install_images(&firmware_end));
#ifdef CONFIG_TOIT_AGENT
  if (records) {
    install_staged(firmware_end);
    store_apps_each(run_once, NULL);
  }
  agent_start();
#endif
  Scheduler::ExitState exit;
  {
    VM vm;
    vm.load_platform_event_sources();
    int group_id = vm.scheduler()->next_group_id();
    exit = vm.scheduler()->run_boot_program(program, group_id);
  }
  printf("ztoit: exit reason %d value %d\n", exit.reason, static_cast<int>(exit.value));
  return 0;
}

}  // namespace toit

// A USB CDC ACM console (nRF52840 dongle) drops output until the host opens
// the port, so wait for DTR, but at most 3 s: on a wall wart there is no host.
static void wait_for_console() {
#if DT_NODE_HAS_COMPAT(DT_CHOSEN(zephyr_console), zephyr_cdc_acm_uart)
  const struct device* console = DEVICE_DT_GET(DT_CHOSEN(zephyr_console));
  uint32_t dtr = 0;
  for (int i = 0; i < 30 && !dtr; i++) {
    uart_line_ctrl_get(console, UART_LINE_CTRL_DTR, &dtr);
    k_msleep(100);
  }
#endif
}

int main() {
  wait_for_console();
  return toit::run();
}
```

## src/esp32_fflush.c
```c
// ESP32 only. Espressif's ROM linker script (esp32.rom.newlib-funcs.ld) assigns
// fflush to ROM newlib's, which faults in its __getreent on a picolibc FILE:
// every Toit print flushes (primitive_core.cc). picolibc's stdout on Zephyr is
// unbuffered, each character going to the console, so a flush has nothing to do.
// Linked with -Wl,--wrap=fflush (CMakeLists.txt); rete #521.
#include <stdio.h>

int __wrap_fflush(FILE* stream) {
  (void)stream;
  return 0;
}
```

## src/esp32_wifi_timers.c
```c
// ESP32 WiFi only. Espressif's WiFi blob (ieee80211_sta_new_state) zeroes a
// static ETSTimer (the power-save wake-null timer) and calls ets_timer_setfn
// on it at every connect, never ets_timer_done. hal_espressif's
// ets_timer_legacy.c then creates a fresh esp_timer each time, and the one the
// slot held is orphaned: 32 B of the system heap per connect, ~2 h of 30 s
// WiFi cycles to exhaust it (power save off does not help). rete #521.
//
// The guard remembers each slot's esp_timer. A set-up that finds the slot
// zeroed while a handle is still held stops and deletes that handle first;
// ets_timer_done forgets it. Linked with -Wl,--wrap (CMakeLists.txt).
// Measured on the WROOM-32 only: 15 min, 26 connects, heap flat (was -40 B
// per cycle).
#include <zephyr/kernel.h>
#include <zephyr/spinlock.h>

// ETSTimer (esp_rom ets_sys.h); `arg` holds the esp_timer handle.
struct ets_timer {
  void* next;
  uint32_t expire, period;
  void* func;
  void* arg;
};
extern int esp_timer_stop(void* handle);
extern int esp_timer_delete(void* handle);
void __real_ets_timer_setfn(struct ets_timer* t, void* f, void* a);
void __real_ets_timer_done(struct ets_timer* t);

// The blob sets up about ten ETSTimers. A slot past this many is not guarded:
// it leaks as before rather than failing.
#define HELD 32
static struct {
  struct ets_timer* t;
  void* handle;
} held[HELD];
static struct k_spinlock lock;

static int find(struct ets_timer* t) {
  for (int i = 0; i < HELD; i++) {
    if (held[i].t == t) return i;
  }
  return -1;
}

void __wrap_ets_timer_setfn(struct ets_timer* t, void* f, void* a) {
  void* orphan = NULL;
  k_spinlock_key_t k = k_spin_lock(&lock);
  int i = find(t);
  if (i >= 0 && t->arg == NULL) {
    orphan = held[i].handle;
    held[i].handle = NULL;
  }
  k_spin_unlock(&lock, k);
  if (orphan) {
    esp_timer_stop(orphan);  // An armed timer cannot be deleted.
    esp_timer_delete(orphan);
  }
  __real_ets_timer_setfn(t, f, a);
  k = k_spin_lock(&lock);
  i = find(t);
  if (i < 0) i = find(NULL);
  if (i >= 0) {
    held[i].t = t;
    held[i].handle = t->arg;
  }
  k_spin_unlock(&lock, k);
}

void __wrap_ets_timer_done(struct ets_timer* t) {
  __real_ets_timer_done(t);
  k_spinlock_key_t k = k_spin_lock(&lock);
  int i = find(t);
  if (i >= 0) held[i].handle = NULL;
  k_spin_unlock(&lock, k);
}
```

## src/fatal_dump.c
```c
// Debug build only (west build ... -- -DFATAL_DUMP=ON), nRF: tell a silent hang
// apart (ztoit#23). The console is interrupt-driven USB CDC, so a fatal error
// (which halts with interrupts locked) prints nothing. Three outcomes:
//  - fatal error: saved to RAM that survives the reboot, printed at next boot;
//  - spin with interrupts locked or in an ISR: the watchdog resets, and the
//    reset cause is printed at next boot;
//  - threads deadlocked or starved: `dbg: alive` keeps printing.
#include <zephyr/kernel.h>
#include <zephyr/init.h>
#include <zephyr/fatal.h>
#include <zephyr/sys/reboot.h>
#include <string.h>
#include <nrfx.h>

#define DUMP_MAGIC 0x23fa7a1dU
#define STACK_WORDS 24

static __noinit struct {
  uint32_t magic;
  uint32_t reason;
  uint32_t pc, lr, psr;
  uint32_t in_isr;
  int64_t uptime_ms;
  char thread[16];
  uint32_t stack[STACK_WORDS];  // Above the exception frame: return addresses to unwind by hand.
} dump;

void k_sys_fatal_error_handler(unsigned int reason, const struct arch_esf* esf) {
  dump.reason = reason;
  dump.in_isr = k_is_in_isr();
  dump.uptime_ms = k_uptime_get();
  dump.pc = dump.lr = dump.psr = 0;
  memset(dump.stack, 0, sizeof(dump.stack));
  if (esf != NULL) {
    dump.pc = esf->basic.pc;
    dump.lr = esf->basic.lr;
    dump.psr = esf->basic.xpsr;
    memcpy(dump.stack, (const uint32_t*)(&esf->basic + 1), sizeof(dump.stack));
  }
#ifdef FATAL_DUMP_PEEK
  // The nRF radio driver's static state, at addresses read from this build's
  // ELF with nm (check them after every rebuild): the last two stack words carry
  // hfclk_is_running..m_state (9 bytes at PEEK_CORE) and m_trx_state.
  memcpy(&dump.stack[STACK_WORDS - 3], (const void*)PEEK_CORE, 9);
  dump.stack[STACK_WORDS - 3 + 2] = (dump.stack[STACK_WORDS - 3 + 2] & 0xff) | (*(const uint8_t*)PEEK_TRX << 8);
#endif
  const char* name = k_thread_name_get(k_current_get());
  strncpy(dump.thread, name ? name : "?", sizeof(dump.thread) - 1);
  dump.thread[sizeof(dump.thread) - 1] = 0;
  dump.magic = DUMP_MAGIC;
  // The bootloader may overwrite RAM: GPREGRET2 carries at least the reason.
  NRF_POWER->GPREGRET2 = 0xA0 | (reason & 0xf);
  sys_reboot(SYS_REBOOT_WARM);
}

static void feed(struct k_timer* timer) {
  NRF_WDT->RR[0] = WDT_RR_RR_Reload;
}
static K_TIMER_DEFINE(feed_timer, feed, NULL);

static void alive(struct k_work* work);
static K_WORK_DELAYABLE_DEFINE(alive_work, alive);

static void alive(struct k_work* work) {
  printk("dbg: alive %lld s\n", k_uptime_get() / 1000);
  k_work_reschedule(&alive_work, K_SECONDS(10));
}

static void report(void) {
  // RESETREAS: 1 pin, 2 watchdog, 4 soft reset (the fatal handler's reboot), 8 lockup.
  uint32_t cause = NRF_POWER->RESETREAS;
  NRF_POWER->RESETREAS = cause;
  printk("dbg: resetreas 0x%x gpregret2 0x%x\n", cause, (unsigned)NRF_POWER->GPREGRET2);
  NRF_POWER->GPREGRET2 = 0;
  if (dump.magic == DUMP_MAGIC) {
    // Short lines, paced: the CDC ring is smaller than one long line (#47).
    printk("dbg: FATAL reason %u at %lld ms\n", dump.reason, dump.uptime_ms);
    k_msleep(100);
    printk("dbg: thread %s isr %u\n", dump.thread, dump.in_isr);
    k_msleep(100);
    printk("dbg: pc %08x lr %08x\n", dump.pc, dump.lr);
    k_msleep(100);
    printk("dbg: psr %08x\n", dump.psr);
    k_msleep(100);
    for (int i = 0; i < STACK_WORDS; i += 8) {
      printk("dbg: stack %08x %08x %08x %08x\n", dump.stack[i], dump.stack[i + 1], dump.stack[i + 2],
             dump.stack[i + 3]);
      k_msleep(100);
      printk("dbg: stack %08x %08x %08x %08x\n", dump.stack[i + 4], dump.stack[i + 5], dump.stack[i + 6],
             dump.stack[i + 7]);
      k_msleep(100);
    }
    dump.magic = 0;
  }
}

static int start_fatal_dump(void) {
  NRF_WDT->CRV = 8 * 32768;  // 8 s.
  NRF_WDT->RREN = WDT_RREN_RR0_Msk;
  NRF_WDT->CONFIG = WDT_CONFIG_SLEEP_Run << WDT_CONFIG_SLEEP_Pos;
  NRF_WDT->TASKS_START = 1;
  k_timer_start(&feed_timer, K_SECONDS(1), K_SECONDS(1));
  // Hold the boot: the CDC console drops output until the host has opened it,
  // and the fatal error being chased strikes about 2 s after boot.
  k_sleep(K_SECONDS(4));
  report();
  k_work_schedule(&alive_work, K_SECONDS(10));
  return 0;
}

SYS_INIT(start_fatal_dump, APPLICATION, 99);
```

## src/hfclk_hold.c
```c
// Debug build only (west build ... -- -DHFCLK_HOLD=ON), nRF: keep the HF crystal
// requested from boot, as the USB device stack does on the dongle, on a board
// without USB (ztoit#23). The radio driver's own clock request then completes
// inside the request instead of from the clock interrupt.
#include <zephyr/kernel.h>
#include <zephyr/init.h>
#include <zephyr/sys/onoff.h>
#include <zephyr/drivers/clock_control/nrf_clock_control.h>

static struct onoff_client hold;

static int start_hfclk_hold(void) {
  sys_notify_init_spinwait(&hold.notify);
  int err = onoff_request(z_nrf_clock_control_get_onoff(CLOCK_CONTROL_NRF_SUBSYS_HF), &hold);
  printk("dbg: hfclk held %d\n", err);
  return 0;
}

SYS_INIT(start_hfclk_hold, APPLICATION, 98);
```

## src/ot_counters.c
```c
// Debug build only (west build ... -- -DOT_COUNTERS=ON): print OpenThread's MAC
// counters once a minute, to line the node's own TX outcomes up against the
// soak's UDP losses (ztoit#18 TX loss). Nothing is printed until Thread is up.
#include <zephyr/kernel.h>
#include <zephyr/init.h>
#include <zephyr/net/openthread.h>
#include <openthread/link.h>

static void print_counters(struct k_work* work);
static K_WORK_DELAYABLE_DEFINE(counters_work, print_counters);

static void print_counters(struct k_work* work) {
  otInstance* instance = openthread_get_default_instance();
  if (instance != NULL) {
    openthread_mutex_lock();
    otMacCounters c = *otLinkGetCounters(instance);
    openthread_mutex_unlock();
    printk("ot-mac: tx=%u ackreq=%u acked=%u retry=%u maxretry=%u cca=%u abort=%u busy=%u "
           "rx=%u dup=%u\n",
           c.mTxTotal, c.mTxAckRequested, c.mTxAcked, c.mTxRetry, c.mTxDirectMaxRetryExpiry,
           c.mTxErrCca, c.mTxErrAbort, c.mTxErrBusyChannel, c.mRxTotal, c.mRxDuplicated);
  }
  k_work_reschedule(&counters_work, K_SECONDS(60));
}

static int start_counters(void) {
  k_work_schedule(&counters_work, K_SECONDS(60));
  return 0;
}

SYS_INIT(start_counters, APPLICATION, 99);
```

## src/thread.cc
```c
// ztoit Thread bring-up (builds with prj_thread.conf only). Same shape as rete's
// nodus/oevm/src/backend/zephyr/thread_bringup.c: run OpenThread, admin-up the
// net_if (openthread_run() does not, and sockets then fail with ENETDOWN), and
// block until the MTD attaches. Then one UDP round trip to the gateway's
// udp-echo6 (:7777) proves the mesh before the VM starts.
#include <zephyr/kernel.h>

#ifdef CONFIG_NET_L2_OPENTHREAD

#include <cstdio>
#include <cstring>
#include <zephyr/net/net_if.h>
#include <zephyr/net/openthread.h>
#include <zephyr/net/socket.h>
#include <openthread.h>
#include <openthread/thread.h>

#include "thread.h"

// The gateway's mesh-local EID (gw85224-01, OTBR leader).
static const char* const ECHO_HOST = "fdc5:9109:9afe:97ea:9541:d963:f8d9:8567";
static const int ECHO_PORT = 7777;

static bool attach() {
  openthread_init();
  int run = openthread_run();
  struct openthread_context* ctx = openthread_get_default_context();
  struct net_if* iface = ctx ? ctx->iface : net_if_get_default();
  int up = iface ? net_if_up(iface) : -1;
  printf("thread: run=%d net_if_up=%d, joining...\n", run, up);
  otInstance* instance = openthread_get_default_instance();
  int64_t start = k_uptime_get();
  for (int i = 0; i < 600 && instance; i++) {  // Up to 60 s.
    openthread_mutex_lock();
    otDeviceRole role = otThreadGetDeviceRole(instance);
    openthread_mutex_unlock();
    if (role == OT_DEVICE_ROLE_CHILD || role == OT_DEVICE_ROLE_ROUTER) {
      printf("thread: attached role=%d in %d ms\n", role, static_cast<int>(k_uptime_get() - start));
      return true;
    }
    k_msleep(100);
  }
  printf("thread: attach timed out\n");
  return false;
}

static void echo_once() {
  int fd = zsock_socket(AF_INET6, SOCK_DGRAM, IPPROTO_UDP);
  if (fd < 0) { printf("thread: socket errno %d\n", errno); return; }
  struct sockaddr_in6 to = {};
  to.sin6_family = AF_INET6;
  to.sin6_port = htons(ECHO_PORT);
  zsock_inet_pton(AF_INET6, ECHO_HOST, &to.sin6_addr);
  struct timeval timeout = { .tv_sec = 3, .tv_usec = 0 };
  zsock_setsockopt(fd, SOL_SOCKET, SO_RCVTIMEO, &timeout, sizeof(timeout));
  const char message[] = "ztoit echo";
  for (int attempt = 1; attempt <= 3; attempt++) {
    int64_t start = k_uptime_get();
    int sent = zsock_sendto(fd, message, sizeof(message) - 1, 0,
                            reinterpret_cast<struct sockaddr*>(&to), sizeof(to));
    if (sent < 0) { printf("thread: sendto errno %d\n", errno); k_msleep(1000); continue; }
    char buffer[64];
    int received = zsock_recv(fd, buffer, sizeof(buffer), 0);
    if (received == sizeof(message) - 1 && memcmp(buffer, message, received) == 0) {
      printf("thread: ECHO OK %d B in %d ms (attempt %d)\n", received,
             static_cast<int>(k_uptime_get() - start), attempt);
      break;
    }
    printf("thread: attempt %d no echo (recv %d, errno %d)\n", attempt, received, errno);
  }
  zsock_close(fd);
}

void ztoit_thread_up() {
  if (attach()) echo_once();
}

#endif  // CONFIG_NET_L2_OPENTHREAD
```

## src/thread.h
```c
#pragma once
// Bring up OpenThread and prove one echo round trip (src/thread.cc).
// Only defined in Thread builds (prj_thread.conf).
void ztoit_thread_up();
```
